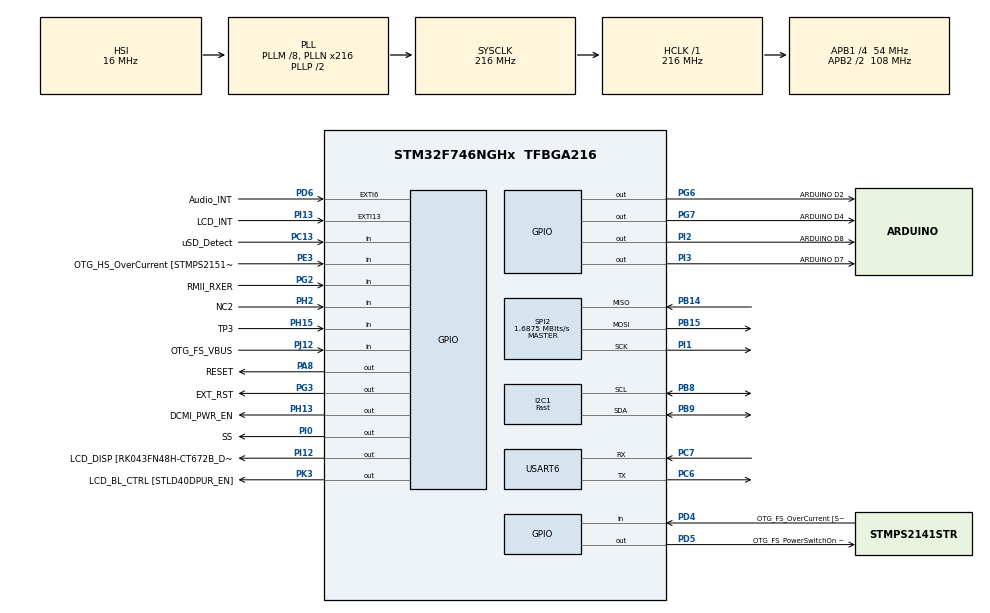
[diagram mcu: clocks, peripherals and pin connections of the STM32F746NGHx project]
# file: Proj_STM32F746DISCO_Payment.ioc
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I2C1.I2C_Speed_Mode=I2C_Fast
I2C1.Timing=0x6000030D
Mcu.Family=STM32F7
Mcu.Name=STM32F746NGHx
Mcu.Package=TFBGA216
NVIC.PriorityGroup=NVIC_PRIORITYGROUP_4
NVIC.USART6_IRQn=true\:0\:0\:false\:false\:true\:true\:true\:true
PA0/WKUP.GPIO_Label=ARDUINO A0
PA0/WKUP.GPIO_Mode=GPIO_MODE_ANALOG
PA0/WKUP.GPIO_PuPd=GPIO_NOPULL
PA0/WKUP.Signal=ADCx_IN0
PA1.GPIO_Label=RMII_REF_CLK [LAN8742A-CZ-TR_REFCLK0]
PA1.Signal=ETH_REF_CLK
PA10.GPIO_Label=OTG_FS_ID
PA10.Signal=USB_OTG_FS_ID
PA11.GPIO_Label=OTG_FS_N
PA11.Signal=USB_OTG_FS_DM
PA12.GPIO_Label=OTG_FS_P
PA12.Signal=USB_OTG_FS_DP
PA13.GPIO_Label=SWDIO
PA13.Mode=Serial_Wire
PA13.Signal=SYS_JTMS-SWDIO
PA14.GPIO_Label=SWCLK
PA14.Mode=Serial_Wire
PA14.Signal=SYS_JTCK-SWCLK
PA15.GPIO_Label=ARDUINO PWM/D9
PA15.GPIO_ModeDefaultPP=GPIO_MODE_AF_PP
PA15.GPIO_PuPd=GPIO_NOPULL
PA15.GPIO_Speed=GPIO_SPEED_FREQ_LOW
PA15.Signal=S_TIM2_CH1_ETR
PA2.GPIO_Label=RMII_MDIO [LAN8742A-CZ-TR_MDIO]
PA2.Signal=ETH_MDIO
PA3.GPIO_Label=ULPI_D0 [USB3320C-EZK_D0]
PA3.Signal=USB_OTG_HS_ULPI_D0
PA4.GPIO_Label=DCMI_HSYNC
PA4.Signal=DCMI_HSYNC
PA5.GPIO_Label=ULPI_CLK [USB3320C-EZK_CLKOUT]
PA5.Signal=USB_OTG_HS_ULPI_CK
PA6.Signal=DCMI_PIXCLK
PA7.GPIO_Label=RMII_CRS_DV [LAN8742A-CZ-TR_CRS_DV]
PA7.Signal=ETH_CRS_DV
PA8.GPIO_Label=RESET
PA8.Signal=GPIO_Output
PA9.GPIO_Label=VCP_TX [STM32F103CBT6_PA3]
PA9.GPIO_Mode=GPIO_MODE_AF_PP
PA9.GPIO_PuPd=GPIO_NOPULL
PA9.GPIO_Speed=GPIO_SPEED_FREQ_LOW
PA9.Signal=USART1_TX
PB0.GPIO_Label=ULPI_D1 [USB3320C-EZK_D1]
PB0.Signal=USB_OTG_HS_ULPI_D1
PB1.GPIO_Label=ULPI_D2 [USB3320C-EZK_D2]
PB1.Signal=USB_OTG_HS_ULPI_D2
PB10.GPIO_Label=ULPI_D3 [USB3320C-EZK_D3]
PB10.Signal=USB_OTG_HS_ULPI_D3
PB11.GPIO_Label=ULPI_D4 [USB3320C-EZK_D4]
PB11.Signal=USB_OTG_HS_ULPI_D4
PB12.GPIO_Label=ULPI_D5 [USB3320C-EZK_D5]
PB12.Signal=USB_OTG_HS_ULPI_D5
PB13.GPIO_Label=ULPI_D6 [USB3320C-EZK_D6]
PB13.Signal=USB_OTG_HS_ULPI_D6
PB14.Mode=Full_Duplex_Master
PB14.Signal=SPI2_MISO
PB15.Mode=Full_Duplex_Master
PB15.Signal=SPI2_MOSI
PB2.Signal=QUADSPI_CLK
PB3.GPIO_Label=SWO
PB3.Signal=SYS_JTDO-SWO
PB4.GPIO_Label=ARDUINO PWM/D3
PB4.GPIO_ModeDefaultPP=GPIO_MODE_AF_PP
PB4.GPIO_PuPd=GPIO_NOPULL
PB4.GPIO_Speed=GPIO_SPEED_FREQ_LOW
PB4.Signal=S_TIM3_CH1
PB5.GPIO_Label=ULPI_D7 [USB3320C-EZK_D7]
PB5.Signal=USB_OTG_HS_ULPI_D7
PB6.GPIO_Label=QSPI_NCS [N25Q128A13EF840E_S]
PB6.Signal=QUADSPI_BK1_NCS
PB7.GPIO_Label=VCP_RX [STM32F103CBT6_PA2]
PB7.GPIO_Mode=GPIO_MODE_AF_PP
PB7.GPIO_PuPd=GPIO_NOPULL
PB7.GPIO_Speed=GPIO_SPEED_FREQ_LOW
PB7.Signal=USART1_RX
PB8.Mode=I2C
PB8.Signal=I2C1_SCL
PB9.Mode=I2C
PB9.Signal=I2C1_SDA
PC0.GPIO_Label=ULPI_STP [USB3320C-EZK_STP]
PC0.Signal=USB_OTG_HS_ULPI_STP
PC1.GPIO_Label=RMII_MDC [LAN8742A-CZ-TR_MDC]
PC1.Signal=ETH_MDC
PC10.GPIO_Label=SDMMC_D2
PC10.Signal=SDMMC1_D2
PC11.GPIO_Label=SDMMC_D3
PC11.Signal=SDMMC1_D3
PC12.GPIO_Label=SDMMC_CK
PC12.Signal=SDMMC1_CK
PC13.GPIO_Label=uSD_Detect
PC13.Signal=GPIO_Input
PC14/OSC32_IN.GPIO_Label=RCC_OSC32_IN
PC14/OSC32_IN.Signal=RCC_OSC32_IN
PC15/OSC32_OUT.GPIO_Label=RCC_OSC32_OUT
PC15/OSC32_OUT.Signal=RCC_OSC32_OUT
PC2.GPIO_Label=ULPI_DIR [USB3320C-EZK_DIR]
PC2.Signal=USB_OTG_HS_ULPI_DIR
PC3.GPIO_Label=FMC_SDCKE0 [MT48LC4M32B2B5-6A_CKE]
PC3.Signal=FMC_SDCKE0
PC4.GPIO_Label=RMII_RXD0 [LAN8742A-CZ-TR_RXD0]
PC4.Signal=ETH_RXD0
PC5.GPIO_Label=RMII_RXD1 [LAN8742A-CZ-TR_RXD1]
PC5.Signal=ETH_RXD1
PC6.Mode=Asynchronous
PC6.Signal=USART6_TX
PC7.Mode=Asynchronous
PC7.Signal=USART6_RX
PC8.Signal=SDMMC1_D0
PC9.Signal=SDMMC1_D1
PD0.GPIO_Label=FMC_D2 [MT48LC4M32B2B5-6A_DQ2]
PD0.Signal=FMC_D2_DA2
PD1.GPIO_Label=FMC_D3 [MT48LC4M32B2B5-6A_DQ3]
PD1.Signal=FMC_D3_DA3
PD10.GPIO_Label=FMC_D15 [MT48LC4M32B2B5-6A_DQ15]
PD10.Signal=FMC_D15_DA15
PD11.GPIO_Label=QSPI_D0 [N25Q128A13EF840E_DQ0]
PD11.Signal=QUADSPI_BK1_IO0
PD12.GPIO_Label=QSPI_D1 [N25Q128A13EF840E_DQ1]
PD12.Signal=QUADSPI_BK1_IO1
PD13.GPIO_Label=QSPI_D3 [N25Q128A13EF840E_DQ3]
PD13.Signal=QUADSPI_BK1_IO3
PD14.GPIO_Label=FMC_D0 [MT48LC4M32B2B5-6A_DQ0]
PD14.Signal=FMC_D0_DA0
PD15.GPIO_Label=FMC_D1 [MT48LC4M32B2B5-6A_DQ1]
PD15.Signal=FMC_D1_DA1
PD2.GPIO_Label=SDMMC_CMD
PD2.Signal=SDMMC1_CMD
PD3.GPIO_Label=DCMI_D5
PD3.Signal=DCMI_D5
PD4.GPIO_Label=OTG_FS_OverCurrent [STMPS2141STR_Fault]
PD4.Signal=GPIO_Input
PD5.GPIO_Label=OTG_FS_PowerSwitchOn [STMPS2141STR_EN]
PD5.PinState=GPIO_PIN_SET
PD5.Signal=GPIO_Output
PD6.GPIO_Label=Audio_INT
PD6.GPIO_ModeDefaultEXTI=GPIO_MODE_EVT_RISING
PD6.Signal=GPXTI6
PD7.GPIO_Label=SPDIF_RX0 [74LVC1G04SE_4]
PD7.Signal=SPDIFRX_IN0
PD8.GPIO_Label=FMC_D13 [MT48LC4M32B2B5-6A_DQ13]
PD8.Signal=FMC_D13_DA13
PD9.GPIO_Label=FMC_D14 [MT48LC4M32B2B5-6A_DQ14]
PD9.Signal=FMC_D14_DA14
PE0.GPIO_Label=FMC_NBL0 [MT48LC4M32B2B5-6A_DQM0]
PE0.Signal=FMC_NBL0
PE1.GPIO_Label=FMC_NBL1 [MT48LC4M32B2B5-6A_DQM1]
PE1.Signal=FMC_NBL1
PE10.GPIO_Label=FMC_D7 [MT48LC4M32B2B5-6A_DQ7]
PE10.Signal=FMC_D7_DA7
PE11.GPIO_Label=FMC_D8 [MT48LC4M32B2B5-6A_DQ8]
PE11.Signal=FMC_D8_DA8
PE12.GPIO_Label=FMC_D9 [MT48LC4M32B2B5-6A_DQ9]
PE12.Signal=FMC_D9_DA9
PE13.GPIO_Label=FMC_D10 [MT48LC4M32B2B5-6A_DQ10]
PE13.Signal=FMC_D10_DA10
PE14.GPIO_Label=FMC_D11 [MT48LC4M32B2B5-6A_DQ11]
PE14.Signal=FMC_D11_DA11
PE15.GPIO_Label=FMC_D12 [MT48LC4M32B2B5-6A_DQ12]
PE15.Signal=FMC_D12_DA12
PE2.GPIO_Label=QSPI_D2 [N25Q128A13EF840E_DQ2]
PE2.Signal=QUADSPI_BK1_IO2
PE3.GPIO_Label=OTG_HS_OverCurrent [STMPS2151STR_FAULT]
PE3.Signal=GPIO_Input
PE4.GPIO_Label=LCD_B0 [RK043FN48H-CT672B_B0]
PE4.Signal=LTDC_B0
PE5.GPIO_Label=DCMI_D6
PE5.Signal=DCMI_D6
PE6.GPIO_Label=DCMI_D7
PE6.Signal=DCMI_D7
PE7.GPIO_Label=FMC_D4 [MT48LC4M32B2B5-6A_DQ4]
PE7.Signal=FMC_D4_DA4
PE8.GPIO_Label=FMC_D5 [MT48LC4M32B2B5-6A_DQ5]
PE8.Signal=FMC_D5_DA5
PE9.GPIO_Label=FMC_D6 [MT48LC4M32B2B5-6A_DQ6]
PE9.Signal=FMC_D6_DA6
PF0.GPIO_Label=FMC_A0 [MT48LC4M32B2B5-6A_A0]
PF0.Signal=FMC_A0
PF1.GPIO_Label=FMC_A1 [MT48LC4M32B2B5-6A_A1]
PF1.Signal=FMC_A1
PF10.GPIO_Label=ARDUINO A1
PF10.GPIO_Mode=GPIO_MODE_ANALOG
PF10.GPIO_PuPd=GPIO_NOPULL
PF10.Signal=ADC3_IN8
PF11.GPIO_Label=FMC_SDNRAS [MT48LC4M32B2B5-6A_RAS]
PF11.Signal=FMC_SDNRAS
PF12.GPIO_Label=FMC_A6 [MT48LC4M32B2B5-6A_A6]
PF12.Signal=FMC_A6
PF13.GPIO_Label=FMC_A7 [MT48LC4M32B2B5-6A_A7]
PF13.Signal=FMC_A7
PF14.GPIO_Label=FMC_A8 [MT48LC4M32B2B5-6A_A8]
PF14.Signal=FMC_A8
PF15.GPIO_Label=FMC_A9 [MT48LC4M32B2B5-6A_A9]
PF15.Signal=FMC_A9
PF2.GPIO_Label=FMC_A2 [MT48LC4M32B2B5-6A_A2]
PF2.Signal=FMC_A2
PF3.GPIO_Label=FMC_A3 [MT48LC4M32B2B5-6A_A3]
PF3.Signal=FMC_A3
PF4.GPIO_Label=FMC_A4 [MT48LC4M32B2B5-6A_A4]
PF4.Signal=FMC_A4
PF5.GPIO_Label=FMC_A5 [MT48LC4M32B2B5-6A_A5]
PF5.Signal=FMC_A5
PF6.GPIO_Label=ARDUINO A5
PF6.GPIO_Mode=GPIO_MODE_ANALOG
PF6.GPIO_PuPd=GPIO_NOPULL
PF6.Signal=ADC3_IN4
PF7.GPIO_Label=ARDUINO A4
PF7.GPIO_Mode=GPIO_MODE_ANALOG
PF7.GPIO_PuPd=GPIO_NOPULL
PF7.Signal=ADC3_IN5
PF8.GPIO_Label=ARDUINO A3
PF8.GPIO_Mode=GPIO_MODE_ANALOG
PF8.GPIO_PuPd=GPIO_NOPULL
PF8.Signal=ADC3_IN6
PF9.GPIO_Label=ARDUINO A2
PF9.GPIO_Mode=GPIO_MODE_ANALOG
PF9.GPIO_PuPd=GPIO_NOPULL
PF9.Signal=ADC3_IN7
PG0.GPIO_Label=FMC_A10 [MT48LC4M32B2B5-6A_A10]
PG0.Signal=FMC_A10
PG1.GPIO_Label=FMC_A11 [MT48LC4M32B2B5-6A_A11]
PG1.Signal=FMC_A11
PG10.GPIO_Label=SAI2_SDB [WM8994ECS/R_ADCDAT1]
PG10.Signal=SAI2_SD_B
PG11.GPIO_Label=RMII_TX_EN [LAN8742A-CZ-TR_TXEN]
PG11.Signal=ETH_TX_EN
PG12.GPIO_Label=LCD_B4 [RK043FN48H-CT672B_B4]
PG12.Signal=LTDC_B4
PG13.GPIO_Label=RMII_TXD0 [LAN8742A-CZ-TR_TXD0]
PG13.Signal=ETH_TXD0
PG14.GPIO_Label=RMII_TXD1 [LAN8742A-CZ-TR_TXD1]
PG14.Signal=ETH_TXD1
PG15.GPIO_Label=FMC_SDNCAS [MT48LC4M32B2B5-6A_CAS]
PG15.Signal=FMC_SDNCAS
PG2.GPIO_Label=RMII_RXER
PG2.Signal=GPIO_Input
PG3.GPIO_Label=EXT_RST
PG3.Signal=GPIO_Output
PG4.GPIO_Label=FMC_BA0 [MT48LC4M32B2B5-6A_BA0]
PG4.Signal=FMC_A14_BA0
PG5.GPIO_Label=FMC_BA1 [MT48LC4M32B2B5-6A_BA1]
PG5.Signal=FMC_A15_BA1
PG6.GPIO_Label=ARDUINO D2
PG6.Signal=GPIO_Output
PG7.GPIO_Label=ARDUINO D4
PG7.Signal=GPIO_Output
PG8.GPIO_Label=FMC_SDCLK [MT48LC4M32B2B5-6A_CLK]
PG8.Signal=FMC_SDCLK
PG9.GPIO_Label=DCMI_VSYNC
PG9.Signal=DCMI_VSYNC
PH0/OSC_IN.GPIO_Label=OSC_25M [NZ2520SB-25.00M_OUT]
PH0/OSC_IN.Signal=RCC_OSC_IN
PH1/OSC_OUT.Signal=RCC_OSC_OUT
PH10.GPIO_Label=DCMI_D1
PH10.Signal=DCMI_D1
PH11.GPIO_Label=DCMI_D2
PH11.Signal=DCMI_D2
PH12.GPIO_Label=DCMI_D3
PH12.Signal=DCMI_D3
PH13.GPIO_Label=DCMI_PWR_EN
PH13.Signal=GPIO_Output
PH14.GPIO_Label=DCMI_D4
PH14.Signal=DCMI_D4
PH15.GPIO_Label=TP3
PH15.Signal=GPIO_Input
PH2.GPIO_Label=NC2
PH2.Signal=GPIO_Input
PH3.GPIO_Label=FMC_SDNE0 [MT48LC4M32B2B5-6A_CS]
PH3.Signal=FMC_SDNE0
PH4.GPIO_Label=ULPI_NXT [USB3320C-EZK_NXT]
PH4.Signal=USB_OTG_HS_ULPI_NXT
PH5.GPIO_Label=FMC_SDNME [MT48LC4M32B2B5-6A_WE]
PH5.Signal=FMC_SDNWE
PH6.GPIO_Label=ARDUINO PWM/D6
PH6.Signal=S_TIM12_CH1
PH7.GPIO_Label=LCD_SCL [RK043FN48H-CT672B_SCL]
PH7.GPIO_Pu=GPIO_PULLUP
PH7.Signal=I2C3_SCL
PH8.GPIO_Label=LCD_SDA [RK043FN48H-CT672B_SDA]
PH8.GPIO_Pu=GPIO_PULLUP
PH8.Signal=I2C3_SDA
PH9.GPIO_Label=DCMI_D0
PH9.Signal=DCMI_D0
PI0.GPIO_Label=SS
PI0.Signal=GPIO_Output
PI1.Mode=Full_Duplex_Master
PI1.Signal=SPI2_SCK
PI10.GPIO_Label=LCD_HSYNC [RK043FN48H-CT672B_HSYNC]
PI10.Signal=LTDC_HSYNC
PI12.GPIO_Label=LCD_DISP [RK043FN48H-CT672B_DISP] 
PI12.PinState=GPIO_PIN_SET
PI12.Signal=GPIO_Output
PI13.GPIO_Label=LCD_INT
PI13.GPIO_ModeDefaultEXTI=GPIO_MODE_EVT_RISING
PI13.Signal=GPXTI13
PI14.GPIO_Label=LCD_CLK [RK043FN48H-CT672B_CLK]
PI14.Signal=LTDC_CLK
PI15.GPIO_Label=LCD_R0 [RK043FN48H-CT672B_R0]
PI15.Signal=LTDC_R0
PI2.GPIO_Label=ARDUINO D8
PI2.Signal=GPIO_Output
PI3.GPIO_Label=ARDUINO D7
PI3.Signal=GPIO_Output
PI4.GPIO_Label=SAI2_MCLKA [WM8994ECS/R_MCLK1]
PI4.Signal=SAI2_MCLK_A
PI5.GPIO_Label=SAI2_SCKA [WM8994ECS/R_BCLK1]
PI5.Signal=SAI2_SCK_A
PI6.GPIO_Label=SAI2_SDA [WM8994ECS/R_DACDAT1]
PI6.Signal=SAI2_SD_A
PI7.GPIO_Label=SAI2_FSA [WM8994ECS/R_LRCLK1]
PI7.Signal=SAI2_FS_A
PI8.GPIO_Label=NC1 [TP2]
PI8.Signal=RTC_TS
PI9.GPIO_Label=LCD_VSYNC [RK043FN48H-CT672B_VSYNC]
PI9.Signal=LTDC_VSYNC
PJ0.GPIO_Label=LCD_R1 [RK043FN48H-CT672B_R1]
PJ0.Signal=LTDC_R1
PJ1.GPIO_Label=LCD_R2 [RK043FN48H-CT672B_R2]
PJ1.Signal=LTDC_R2
PJ10.GPIO_Label=LCD_G3 [RK043FN48H-CT672B_G3]
PJ10.Signal=LTDC_G3
PJ11.GPIO_Label=LCD_G4 [RK043FN48H-CT672B_G4]
PJ11.Signal=LTDC_G4
PJ12.GPIO_Label=OTG_FS_VBUS
PJ12.Signal=GPIO_Input
PJ13.GPIO_Label=LCD_B1 [RK043FN48H-CT672B_B1]
PJ13.Signal=LTDC_B1
PJ14.GPIO_Label=LCD_B2 [RK043FN48H-CT672B_B2]
PJ14.Signal=LTDC_B2
PJ15.GPIO_Label=LCD_B3 [RK043FN48H-CT672B_B3]
PJ15.Signal=LTDC_B3
PJ2.GPIO_Label=LCD_R3 [RK043FN48H-CT672B_R3]
PJ2.Signal=LTDC_R3
PJ3.GPIO_Label=LCD_R4 [RK043FN48H-CT672B_R4]
PJ3.Signal=LTDC_R4
PJ4.GPIO_Label=LCD_R5 [RK043FN48H-CT672B_R5]
PJ4.Signal=LTDC_R5
PJ5.GPIO_Label=LCD_R6 [RK043FN48H-CT672B_R6]
PJ5.Signal=LTDC_R6
PJ6.GPIO_Label=LCD_R7 [RK043FN48H-CT672B_R7]
PJ6.Signal=LTDC_R7
PJ7.GPIO_Label=LCD_G0 [RK043FN48H-CT672B_G0]
PJ7.Signal=LTDC_G0
PJ8.GPIO_Label=LCD_G1 [RK043FN48H-CT672B_G1]
PJ8.Signal=LTDC_G1
PJ9.GPIO_Label=LCD_G2 [RK043FN48H-CT672B_G2]
PJ9.Signal=LTDC_G2
PK0.GPIO_Label=LCD_G5 [RK043FN48H-CT672B_G5]
PK0.Signal=LTDC_G5
PK1.GPIO_Label=LCD_G6 [RK043FN48H-CT672B_G6]
PK1.Signal=LTDC_G6
PK2.GPIO_Label=LCD_G7 [RK043FN48H-CT672B_G7]
PK2.Signal=LTDC_G7
PK3.GPIO_Label=LCD_BL_CTRL [STLD40DPUR_EN]
PK3.GPIO_Speed=GPIO_SPEED_FREQ_LOW
PK3.PinState=GPIO_PIN_SET
PK3.Signal=GPIO_Output
PK4.GPIO_Label=LCD_B5 [RK043FN48H-CT672B_B5]
PK4.Signal=LTDC_B5
PK5.GPIO_Label=LCD_B6 [RK043FN48H-CT672B_B6]
PK5.Signal=LTDC_B6
PK6.GPIO_Label=LCD_B7 [RK043FN48H-CT672B_B7]
PK6.Signal=LTDC_B7
PK7.GPIO_Label=LCD_DE [RK043FN48H-CT672B_DE]
PK7.Signal=LTDC_DE
ProjectManager.HeapSize=0x200
ProjectManager.StackSize=0x400
ProjectManager.TargetToolchain=STM32CubeIDE
RCC.AHBFreq_Value=216000000
RCC.APB1CLKDivider=RCC_HCLK_DIV4
RCC.APB1Freq_Value=54000000
RCC.APB1TimFreq_Value=108000000
RCC.APB2CLKDivider=RCC_HCLK_DIV2
RCC.APB2Freq_Value=108000000
RCC.APB2TimFreq_Value=216000000
RCC.CortexFreq_Value=216000000
RCC.HCLKFreq_Value=216000000
RCC.HSE_VALUE=25000000
RCC.HSI_VALUE=16000000
RCC.LSE_VALUE=32768
RCC.PLL48CLockSelection=RCC_CLK48SOURCE_PLLSAIP
RCC.PLLI2SN=100
RCC.PLLM=8
RCC.PLLN=216
RCC.PLLQ=9
RCC.PLLSAIN=384
RCC.PLLSAIP=RCC_PLLSAIP_DIV8
RCC.PLLSAIR=5
RCC.PLLSAIRDiv=RCC_PLLSAIDIVR_8
RCC.SDMMCClockSelection=RCC_SDMMC1CLKSOURCE_CLK48
RCC.SYSCLKFreq_VALUE=216000000
RCC.SYSCLKSource=RCC_SYSCLKSOURCE_PLLCLK
RCC.USBFreq_Value=96000000
RCC.VCOOutputFreq_Value=432000000
SH.ADCx_IN0.0=ADC3_IN0
SH.FMC_A0.0=FMC_A0
SH.FMC_A1.0=FMC_A1
SH.FMC_A10.0=FMC_A10
SH.FMC_A11.0=FMC_A11
SH.FMC_A14_BA0.0=FMC_BA0
SH.FMC_A15_BA1.0=FMC_BA1
SH.FMC_A2.0=FMC_A2
SH.FMC_A3.0=FMC_A3
SH.FMC_A4.0=FMC_A4
SH.FMC_A5.0=FMC_A5
SH.FMC_A6.0=FMC_A6
SH.FMC_A7.0=FMC_A7
SH.FMC_A8.0=FMC_A8
SH.FMC_A9.0=FMC_A9
SH.FMC_D0_DA0.0=FMC_D0
SH.FMC_D10_DA10.0=FMC_D10
SH.FMC_D11_DA11.0=FMC_D11
SH.FMC_D12_DA12.0=FMC_D12
SH.FMC_D13_DA13.0=FMC_D13
SH.FMC_D14_DA14.0=FMC_D14
SH.FMC_D15_DA15.0=FMC_D15
SH.FMC_D1_DA1.0=FMC_D1
SH.FMC_D2_DA2.0=FMC_D2
SH.FMC_D3_DA3.0=FMC_D3
SH.FMC_D4_DA4.0=FMC_D4
SH.FMC_D5_DA5.0=FMC_D5
SH.FMC_D6_DA6.0=FMC_D6
SH.FMC_D7_DA7.0=FMC_D7
SH.FMC_D8_DA8.0=FMC_D8
SH.FMC_D9_DA9.0=FMC_D9
SH.FMC_NBL0.0=FMC_NBL0
SH.FMC_NBL1.0=FMC_NBL1
SH.FMC_SDCLK.0=FMC_SDCLK
SH.FMC_SDNCAS.0=FMC_SDNCAS
SH.FMC_SDNRAS.0=FMC_SDNRAS
SH.FMC_SDNWE.0=FMC_SDNWE
SH.S_TIM12_CH1.0=TIM12_CH1
SH.S_TIM2_CH1_ETR.0=TIM2_CH1
SH.S_TIM3_CH1.0=TIM3_CH1
SPI2.BaudRatePrescaler=SPI_BAUDRATEPRESCALER_32
SPI2.CalculateBaudRate=1.6875 MBits/s
SPI2.DataSize=SPI_DATASIZE_8BIT
SPI2.Direction=SPI_DIRECTION_2LINES
SPI2.FirstBit=SPI_FIRSTBIT_LSB
SPI2.Mode=SPI_MODE_MASTER
SPI2.VirtualType=VM_MASTER
USART6.VirtualMode-Asynchronous=VM_ASYNC
board=STM32F746G-DISCO

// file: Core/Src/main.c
/* USER CODE BEGIN Header */
/**
  ******************************************************************************
  * @file           : main.c
  * @brief          : Main program body
  ******************************************************************************
  * @attention
  *
  * Copyright (c) 2022 STMicroelectronics.
  * All rights reserved.
  *
  * This software is licensed under terms that can be found in the LICENSE file
  * in the root directory of this software component.
  * If no LICENSE file comes with this software, it is provided AS-IS.
  *
  ******************************************************************************
  */
/* USER CODE END Header */
#include "main.h"

/* USER CODE BEGIN Includes */
#include "i2c-lcd.h"
#include "ssd1306.h"
#include "fonts.h"
#include <stdio.h>

/* USER CODE END Includes */

/* USER CODE BEGIN PD */
#define DS3231_ADDRESS 0xD0 //=0b1101000
/* USER CODE END PD */

I2C_HandleTypeDef hi2c1;

SPI_HandleTypeDef hspi2;

UART_HandleTypeDef huart6;

/* USER CODE BEGIN PV */
char buffer[20];
/* USER CODE END PV */

void SystemClock_Config(void);
static void MX_GPIO_Init(void);
static void MX_SPI2_Init(void);
static void MX_USART6_UART_Init(void);
static void MX_I2C1_Init(void);

/* USER CODE BEGIN 0 */
//convert normal decimal numbers to binary code decimal
uint8_t decToBcd(int val){
	return (uint8_t) ((val/10*16) + (val%10));
}
//convert binary codec decimal to normal decimal
int bcdToDec(uint8_t val){
	return (int) ((val/16*10) + (val%16));
}

typedef struct{
	uint8_t detik;
	uint8_t menit;
	uint8_t jam;
	uint8_t dow; //day of the week (hari)
	uint8_t dom; //day of the month (minggu)
	uint8_t bulan;
	uint8_t tahun;
}WAKTU;

WAKTU time;

//fungsi set
void setTime (uint8_t det, uint8_t mnt, uint8_t jm, uint8_t dow, uint8_t dom, uint8_t bulan, uint8_t thn ){
	uint8_t set_time[7];
	set_time[0] = decToBcd(det);
	set_time[1] = decToBcd(mnt);
	set_time[2] = decToBcd(jm);
	set_time[3] = decToBcd(dow);
	set_time[4] = decToBcd(dom);
	set_time[5] = decToBcd(bulan);
	set_time[6] = decToBcd(thn);

	HAL_I2C_Mem_Write(&hi2c1, DS3231_ADDRESS, 0x00,1, set_time, 7, 1000);
}

void getTime(void){
	uint8_t get_time[7];
	HAL_I2C_Mem_Read(&hi2c1, DS3231_ADDRESS, 0x00, 1, get_time, 7, 1000);
	time.detik	=bcdToDec(get_time[0]);
	time.menit	=bcdToDec(get_time[1]);
	time.jam	=bcdToDec(get_time[2]);
	time.dow	=bcdToDec(get_time[3]);
	time.dom	=bcdToDec(get_time[4]);
	time.bulan	=bcdToDec(get_time[5]);
	time.tahun	=bcdToDec(get_time[6]);

}
/* USER CODE END 0 */

int main(void)
{

  /* MCU Configuration--------------------------------------------------------*/

  /* Reset of all peripherals, Initializes the Flash interface and the Systick. */
  HAL_Init();

  /* Configure the system clock */
  SystemClock_Config();

  /* Initialize all configured peripherals */
  MX_GPIO_Init();
  MX_SPI2_Init();
  MX_USART6_UART_Init();
  MX_I2C1_Init();
  /* USER CODE BEGIN 2 */
  lcd_init();
  lcd_init();

  setTime(00, 57, 15, 6, 1, 8, 22);

  /* USER CODE END 2 */

  /* Infinite loop */
  while (1)
  {
    /* USER CODE BEGIN 3 */
	  getTime();
	  sprintf(buffer, "%02d:%02d:%02d", time.jam,time.menit,time.detik);
	  lcd_send_cmd(0x80|0x00);//line1
	  lcd_send_string(buffer);
	  SSD1306_GotoXY (0,0);
	  SSD1306_Puts (buffer, &Font_11x18, 1);

	  sprintf(buffer, "%02d/%02d/20%02d", time.dow,time.bulan,time.tahun);
	  lcd_send_cmd(0x80|0x40);//line2
	  lcd_send_string(buffer);
	  SSD1306_GotoXY (10, 30);
	  SSD1306_Puts (buffer, &Font_11x18, 1);

	  SSD1306_UpdateScreen(); //display

	  HAL_Delay(400);

  }
  /* USER CODE END 3 */
}

void SystemClock_Config(void)
{
  RCC_OscInitTypeDef RCC_OscInitStruct = {0};
  RCC_ClkInitTypeDef RCC_ClkInitStruct = {0};

  /** Configure the main internal regulator output voltage
  */
  __HAL_RCC_PWR_CLK_ENABLE();
  __HAL_PWR_VOLTAGESCALING_CONFIG(PWR_REGULATOR_VOLTAGE_SCALE1);

  /** Initializes the RCC Oscillators according to the specified parameters
  * in the RCC_OscInitTypeDef structure.
  */
  RCC_OscInitStruct.OscillatorType = RCC_OSCILLATORTYPE_HSI;
  RCC_OscInitStruct.HSIState = RCC_HSI_ON;
  RCC_OscInitStruct.HSICalibrationValue = RCC_HSICALIBRATION_DEFAULT;
  RCC_OscInitStruct.PLL.PLLState = RCC_PLL_ON;
  RCC_OscInitStruct.PLL.PLLSource = RCC_PLLSOURCE_HSI;
  RCC_OscInitStruct.PLL.PLLM = 8;
  RCC_OscInitStruct.PLL.PLLN = 216;
  RCC_OscInitStruct.PLL.PLLP = RCC_PLLP_DIV2;
  RCC_OscInitStruct.PLL.PLLQ = 9;
  if (HAL_RCC_OscConfig(&RCC_OscInitStruct) != HAL_OK)
  {
    Error_Handler();
  }

  /** Activate the Over-Drive mode
  */
  if (HAL_PWREx_EnableOverDrive() != HAL_OK)
  {
    Error_Handler();
  }

  /** Initializes the CPU, AHB and APB buses clocks
  */
  RCC_ClkInitStruct.ClockType = RCC_CLOCKTYPE_HCLK|RCC_CLOCKTYPE_SYSCLK
                              |RCC_CLOCKTYPE_PCLK1|RCC_CLOCKTYPE_PCLK2;
  RCC_ClkInitStruct.SYSCLKSource = RCC_SYSCLKSOURCE_PLLCLK;
  RCC_ClkInitStruct.AHBCLKDivider = RCC_SYSCLK_DIV1;
  RCC_ClkInitStruct.APB1CLKDivider = RCC_HCLK_DIV4;
  RCC_ClkInitStruct.APB2CLKDivider = RCC_HCLK_DIV2;

  if (HAL_RCC_ClockConfig(&RCC_ClkInitStruct, FLASH_LATENCY_7) != HAL_OK)
  {
    Error_Handler();
  }
}

static void MX_I2C1_Init(void)
{

  hi2c1.Instance = I2C1;
  hi2c1.Init.Timing = 0x6000030D;
  hi2c1.Init.OwnAddress1 = 0;
  hi2c1.Init.AddressingMode = I2C_ADDRESSINGMODE_7BIT;
  hi2c1.Init.DualAddressMode = I2C_DUALADDRESS_DISABLE;
  hi2c1.Init.OwnAddress2 = 0;
  hi2c1.Init.OwnAddress2Masks = I2C_OA2_NOMASK;
  hi2c1.Init.GeneralCallMode = I2C_GENERALCALL_DISABLE;
  hi2c1.Init.NoStretchMode = I2C_NOSTRETCH_DISABLE;
  if (HAL_I2C_Init(&hi2c1) != HAL_OK)
  {
    Error_Handler();
  }

  /** Configure Analogue filter
  */
  if (HAL_I2CEx_ConfigAnalogFilter(&hi2c1, I2C_ANALOGFILTER_ENABLE) != HAL_OK)
  {
    Error_Handler();
  }

  /** Configure Digital filter
  */
  if (HAL_I2CEx_ConfigDigitalFilter(&hi2c1, 0) != HAL_OK)
  {
    Error_Handler();
  }

}

static void MX_SPI2_Init(void)
{

  /* SPI2 parameter configuration*/
  hspi2.Instance = SPI2;
  hspi2.Init.Mode = SPI_MODE_MASTER;
  hspi2.Init.Direction = SPI_DIRECTION_2LINES;
  hspi2.Init.DataSize = SPI_DATASIZE_8BIT;
  hspi2.Init.CLKPolarity = SPI_POLARITY_LOW;
  hspi2.Init.CLKPhase = SPI_PHASE_1EDGE;
  hspi2.Init.NSS = SPI_NSS_SOFT;
  hspi2.Init.BaudRatePrescaler = SPI_BAUDRATEPRESCALER_32;
  hspi2.Init.FirstBit = SPI_FIRSTBIT_LSB;
  hspi2.Init.TIMode = SPI_TIMODE_DISABLE;
  hspi2.Init.CRCCalculation = SPI_CRCCALCULATION_DISABLE;
  hspi2.Init.CRCPolynomial = 7;
  hspi2.Init.CRCLength = SPI_CRC_LENGTH_DATASIZE;
  hspi2.Init.NSSPMode = SPI_NSS_PULSE_ENABLE;
  if (HAL_SPI_Init(&hspi2) != HAL_OK)
  {
    Error_Handler();
  }

}

static void MX_USART6_UART_Init(void)
{

  huart6.Instance = USART6;
  huart6.Init.BaudRate = 115200;
  huart6.Init.WordLength = UART_WORDLENGTH_8B;
  huart6.Init.StopBits = UART_STOPBITS_1;
  huart6.Init.Parity = UART_PARITY_NONE;
  huart6.Init.Mode = UART_MODE_TX_RX;
  huart6.Init.HwFlowCtl = UART_HWCONTROL_NONE;
  huart6.Init.OverSampling = UART_OVERSAMPLING_16;
  huart6.Init.OneBitSampling = UART_ONE_BIT_SAMPLE_DISABLE;
  huart6.AdvancedInit.AdvFeatureInit = UART_ADVFEATURE_NO_INIT;
  if (HAL_UART_Init(&huart6) != HAL_OK)
  {
    Error_Handler();
  }

}

static void MX_GPIO_Init(void)
{
  GPIO_InitTypeDef GPIO_InitStruct = {0};

  /* GPIO Ports Clock Enable */
  __HAL_RCC_GPIOE_CLK_ENABLE();
  __HAL_RCC_GPIOG_CLK_ENABLE();
  __HAL_RCC_GPIOB_CLK_ENABLE();
  __HAL_RCC_GPIOD_CLK_ENABLE();
  __HAL_RCC_GPIOC_CLK_ENABLE();
  __HAL_RCC_GPIOA_CLK_ENABLE();
  __HAL_RCC_GPIOJ_CLK_ENABLE();
  __HAL_RCC_GPIOI_CLK_ENABLE();
  __HAL_RCC_GPIOK_CLK_ENABLE();
  __HAL_RCC_GPIOF_CLK_ENABLE();
  __HAL_RCC_GPIOH_CLK_ENABLE();

  /*Configure GPIO pin Output Level */
  HAL_GPIO_WritePin(OTG_FS_PowerSwitchOn_GPIO_Port, OTG_FS_PowerSwitchOn_Pin, GPIO_PIN_SET);

  /*Configure GPIO pin Output Level */
  HAL_GPIO_WritePin(GPIOI, ARDUINO_D7_Pin|ARDUINO_D8_Pin|SS_Pin, GPIO_PIN_RESET);

  /*Configure GPIO pin Output Level */
  HAL_GPIO_WritePin(LCD_BL_CTRL_GPIO_Port, LCD_BL_CTRL_Pin, GPIO_PIN_SET);

  /*Configure GPIO pin Output Level */
  HAL_GPIO_WritePin(LCD_DISP_GPIO_Port, LCD_DISP_Pin, GPIO_PIN_SET);

  /*Configure GPIO pin Output Level */
  HAL_GPIO_WritePin(DCMI_PWR_EN_GPIO_Port, DCMI_PWR_EN_Pin, GPIO_PIN_RESET);

  /*Configure GPIO pin Output Level */
  HAL_GPIO_WritePin(RESET_GPIO_Port, RESET_Pin, GPIO_PIN_RESET);

  /*Configure GPIO pin Output Level */
  HAL_GPIO_WritePin(GPIOG, ARDUINO_D4_Pin|ARDUINO_D2_Pin|EXT_RST_Pin, GPIO_PIN_RESET);

  /*Configure GPIO pin : LCD_B0_Pin */
  GPIO_InitStruct.Pin = LCD_B0_Pin;
  GPIO_InitStruct.Mode = GPIO_MODE_AF_PP;
  GPIO_InitStruct.Pull = GPIO_NOPULL;
  GPIO_InitStruct.Speed = GPIO_SPEED_FREQ_LOW;
  GPIO_InitStruct.Alternate = GPIO_AF14_LTDC;
  HAL_GPIO_Init(LCD_B0_GPIO_Port, &GPIO_InitStruct);

  /*Configure GPIO pin : OTG_HS_OverCurrent_Pin */
  GPIO_InitStruct.Pin = OTG_HS_OverCurrent_Pin;
  GPIO_InitStruct.Mode = GPIO_MODE_INPUT;
  GPIO_InitStruct.Pull = GPIO_NOPULL;
  HAL_GPIO_Init(OTG_HS_OverCurrent_GPIO_Port, &GPIO_InitStruct);

  /*Configure GPIO pin : QSPI_D2_Pin */
  GPIO_InitStruct.Pin = QSPI_D2_Pin;
  GPIO_InitStruct.Mode = GPIO_MODE_AF_PP;
  GPIO_InitStruct.Pull = GPIO_NOPULL;
  GPIO_InitStruct.Speed = GPIO_SPEED_FREQ_VERY_HIGH;
  GPIO_InitStruct.Alternate = GPIO_AF9_QUADSPI;
  HAL_GPIO_Init(QSPI_D2_GPIO_Port, &GPIO_InitStruct);

  /*Configure GPIO pins : RMII_TXD1_Pin RMII_TXD0_Pin RMII_TX_EN_Pin */
  GPIO_InitStruct.Pin = RMII_TXD1_Pin|RMII_TXD0_Pin|RMII_TX_EN_Pin;
  GPIO_InitStruct.Mode = GPIO_MODE_AF_PP;
  GPIO_InitStruct.Pull = GPIO_NOPULL;
  GPIO_InitStruct.Speed = GPIO_SPEED_FREQ_VERY_HIGH;
  GPIO_InitStruct.Alternate = GPIO_AF11_ETH;
  HAL_GPIO_Init(GPIOG, &GPIO_InitStruct);

  /*Configure GPIO pins : FMC_NBL1_Pin FMC_NBL0_Pin FMC_D5_Pin FMC_D6_Pin
                           FMC_D8_Pin FMC_D11_Pin FMC_D4_Pin FMC_D7_Pin
                           FMC_D9_Pin FMC_D12_Pin FMC_D10_Pin */
  GPIO_InitStruct.Pin = FMC_NBL1_Pin|FMC_NBL0_Pin|FMC_D5_Pin|FMC_D6_Pin
                          |FMC_D8_Pin|FMC_D11_Pin|FMC_D4_Pin|FMC_D7_Pin
                          |FMC_D9_Pin|FMC_D12_Pin|FMC_D10_Pin;
  GPIO_InitStruct.Mode = GPIO_MODE_AF_PP;
  GPIO_InitStruct.Pull = GPIO_NOPULL;
  GPIO_InitStruct.Speed = GPIO_SPEED_FREQ_VERY_HIGH;
  GPIO_InitStruct.Alternate = GPIO_AF12_FMC;
  HAL_GPIO_Init(GPIOE, &GPIO_InitStruct);

  /*Configure GPIO pins : ULPI_D7_Pin ULPI_D6_Pin ULPI_D5_Pin ULPI_D3_Pin
                           ULPI_D2_Pin ULPI_D1_Pin ULPI_D4_Pin */
  GPIO_InitStruct.Pin = ULPI_D7_Pin|ULPI_D6_Pin|ULPI_D5_Pin|ULPI_D3_Pin
                          |ULPI_D2_Pin|ULPI_D1_Pin|ULPI_D4_Pin;
  GPIO_InitStruct.Mode = GPIO_MODE_AF_PP;
  GPIO_InitStruct.Pull = GPIO_NOPULL;
  GPIO_InitStruct.Speed = GPIO_SPEED_FREQ_VERY_HIGH;
  GPIO_InitStruct.Alternate = GPIO_AF10_OTG_HS;
  HAL_GPIO_Init(GPIOB, &GPIO_InitStruct);

  /*Configure GPIO pin : ARDUINO_PWM_D3_Pin */
  GPIO_InitStruct.Pin = ARDUINO_PWM_D3_Pin;
  GPIO_InitStruct.Mode = GPIO_MODE_AF_PP;
  GPIO_InitStruct.Pull = GPIO_NOPULL;
  GPIO_InitStruct.Speed = GPIO_SPEED_FREQ_LOW;
  GPIO_InitStruct.Alternate = GPIO_AF2_TIM3;
  HAL_GPIO_Init(ARDUINO_PWM_D3_GPIO_Port, &GPIO_InitStruct);

  /*Configure GPIO pin : SPDIF_RX0_Pin */
  GPIO_InitStruct.Pin = SPDIF_RX0_Pin;
  GPIO_InitStruct.Mode = GPIO_MODE_AF_PP;
  GPIO_InitStruct.Pull = GPIO_NOPULL;
  GPIO_InitStruct.Speed = GPIO_SPEED_FREQ_LOW;
  GPIO_InitStruct.Alternate = GPIO_AF8_SPDIFRX;
  HAL_GPIO_Init(SPDIF_RX0_GPIO_Port, &GPIO_InitStruct);

  /*Configure GPIO pins : SDMMC_CK_Pin SDMMC_D3_Pin SDMMC_D2_Pin PC9
                           PC8 */
  GPIO_InitStruct.Pin = SDMMC_CK_Pin|SDMMC_D3_Pin|SDMMC_D2_Pin|GPIO_PIN_9
                          |GPIO_PIN_8;
  GPIO_InitStruct.Mode = GPIO_MODE_AF_PP;
  GPIO_InitStruct.Pull = GPIO_NOPULL;
  GPIO_InitStruct.Speed = GPIO_SPEED_FREQ_VERY_HIGH;
  GPIO_InitStruct.Alternate = GPIO_AF12_SDMMC1;
  HAL_GPIO_Init(GPIOC, &GPIO_InitStruct);

  /*Configure GPIO pin : ARDUINO_PWM_D9_Pin */
  GPIO_InitStruct.Pin = ARDUINO_PWM_D9_Pin;
  GPIO_InitStruct.Mode = GPIO_MODE_AF_PP;
  GPIO_InitStruct.Pull = GPIO_NOPULL;
  GPIO_InitStruct.Speed = GPIO_SPEED_FREQ_LOW;
  GPIO_InitStruct.Alternate = GPIO_AF1_TIM2;
  HAL_GPIO_Init(ARDUINO_PWM_D9_GPIO_Port, &GPIO_InitStruct);

  /*Configure GPIO pins : DCMI_D6_Pin DCMI_D7_Pin */
  GPIO_InitStruct.Pin = DCMI_D6_Pin|DCMI_D7_Pin;
  GPIO_InitStruct.Mode = GPIO_MODE_AF_PP;
  GPIO_InitStruct.Pull = GPIO_NOPULL;
  GPIO_InitStruct.Speed = GPIO_SPEED_FREQ_LOW;
  GPIO_InitStruct.Alternate = GPIO_AF13_DCMI;
  HAL_GPIO_Init(GPIOE, &GPIO_InitStruct);

  /*Configure GPIO pin : VCP_RX_Pin */
  GPIO_InitStruct.Pin = VCP_RX_Pin;
  GPIO_InitStruct.Mode = GPIO_MODE_AF_PP;
  GPIO_InitStruct.Pull = GPIO_NOPULL;
  GPIO_InitStruct.Speed = GPIO_SPEED_FREQ_LOW;
  GPIO_InitStruct.Alternate = GPIO_AF7_USART1;
  HAL_GPIO_Init(VCP_RX_GPIO_Port, &GPIO_InitStruct);

  /*Configure GPIO pin : QSPI_NCS_Pin */
  GPIO_InitStruct.Pin = QSPI_NCS_Pin;
  GPIO_InitStruct.Mode = GPIO_MODE_AF_PP;
  GPIO_InitStruct.Pull = GPIO_NOPULL;
  GPIO_InitStruct.Speed = GPIO_SPEED_FREQ_VERY_HIGH;
  GPIO_InitStruct.Alternate = GPIO_AF10_QUADSPI;
  HAL_GPIO_Init(QSPI_NCS_GPIO_Port, &GPIO_InitStruct);

  /*Configure GPIO pins : FMC_SDNCAS_Pin FMC_SDCLK_Pin FMC_A11_Pin FMC_A10_Pin
                           FMC_BA1_Pin FMC_BA0_Pin */
  GPIO_InitStruct.Pin = FMC_SDNCAS_Pin|FMC_SDCLK_Pin|FMC_A11_Pin|FMC_A10_Pin
                          |FMC_BA1_Pin|FMC_BA0_Pin;
  GPIO_InitStruct.Mode = GPIO_MODE_AF_PP;
  GPIO_InitStruct.Pull = GPIO_NOPULL;
  GPIO_InitStruct.Speed = GPIO_SPEED_FREQ_VERY_HIGH;
  GPIO_InitStruct.Alternate = GPIO_AF12_FMC;
  HAL_GPIO_Init(GPIOG, &GPIO_InitStruct);

  /*Configure GPIO pins : LCD_B1_Pin LCD_B2_Pin LCD_B3_Pin LCD_G4_Pin
                           LCD_G1_Pin LCD_G3_Pin LCD_G0_Pin LCD_G2_Pin
                           LCD_R7_Pin LCD_R5_Pin LCD_R6_Pin LCD_R4_Pin
                           LCD_R3_Pin LCD_R1_Pin LCD_R2_Pin */
  GPIO_InitStruct.Pin = LCD_B1_Pin|LCD_B2_Pin|LCD_B3_Pin|LCD_G4_Pin
                          |LCD_G1_Pin|LCD_G3_Pin|LCD_G0_Pin|LCD_G2_Pin
                          |LCD_R7_Pin|LCD_R5_Pin|LCD_R6_Pin|LCD_R4_Pin
                          |LCD_R3_Pin|LCD_R1_Pin|LCD_R2_Pin;
  GPIO_InitStruct.Mode = GPIO_MODE_AF_PP;
  GPIO_InitStruct.Pull = GPIO_NOPULL;
  GPIO_InitStruct.Speed = GPIO_SPEED_FREQ_LOW;
  GPIO_InitStruct.Alternate = GPIO_AF14_LTDC;
  HAL_GPIO_Init(GPIOJ, &GPIO_InitStruct);

  /*Configure GPIO pin : OTG_FS_VBUS_Pin */
  GPIO_InitStruct.Pin = OTG_FS_VBUS_Pin;
  GPIO_InitStruct.Mode = GPIO_MODE_INPUT;
  GPIO_InitStruct.Pull = GPIO_NOPULL;
  HAL_GPIO_Init(OTG_FS_VBUS_GPIO_Port, &GPIO_InitStruct);

  /*Configure GPIO pin : Audio_INT_Pin */
  GPIO_InitStruct.Pin = Audio_INT_Pin;
  GPIO_InitStruct.Mode = GPIO_MODE_EVT_RISING;
  GPIO_InitStruct.Pull = GPIO_NOPULL;
  HAL_GPIO_Init(Audio_INT_GPIO_Port, &GPIO_InitStruct);

  /*Configure GPIO pins : FMC_D2_Pin FMC_D3_Pin FMC_D1_Pin FMC_D15_Pin
                           FMC_D0_Pin FMC_D14_Pin FMC_D13_Pin */
  GPIO_InitStruct.Pin = FMC_D2_Pin|FMC_D3_Pin|FMC_D1_Pin|FMC_D15_Pin
                          |FMC_D0_Pin|FMC_D14_Pin|FMC_D13_Pin;
  GPIO_InitStruct.Mode = GPIO_MODE_AF_PP;
  GPIO_InitStruct.Pull = GPIO_NOPULL;
  GPIO_InitStruct.Speed = GPIO_SPEED_FREQ_VERY_HIGH;
  GPIO_InitStruct.Alternate = GPIO_AF12_FMC;
  HAL_GPIO_Init(GPIOD, &GPIO_InitStruct);

  /*Configure GPIO pins : OTG_FS_P_Pin OTG_FS_N_Pin OTG_FS_ID_Pin */
  GPIO_InitStruct.Pin = OTG_FS_P_Pin|OTG_FS_N_Pin|OTG_FS_ID_Pin;
  GPIO_InitStruct.Mode = GPIO_MODE_AF_PP;
  GPIO_InitStruct.Pull = GPIO_NOPULL;
  GPIO_InitStruct.Speed = GPIO_SPEED_FREQ_VERY_HIGH;
  GPIO_InitStruct.Alternate = GPIO_AF10_OTG_FS;
  HAL_GPIO_Init(GPIOA, &GPIO_InitStruct);

  /*Configure GPIO pins : SAI2_MCLKA_Pin SAI2_SCKA_Pin SAI2_FSA_Pin SAI2_SDA_Pin */
  GPIO_InitStruct.Pin = SAI2_MCLKA_Pin|SAI2_SCKA_Pin|SAI2_FSA_Pin|SAI2_SDA_Pin;
  GPIO_InitStruct.Mode = GPIO_MODE_AF_PP;
  GPIO_InitStruct.Pull = GPIO_NOPULL;
  GPIO_InitStruct.Speed = GPIO_SPEED_FREQ_LOW;
  GPIO_InitStruct.Alternate = GPIO_AF10_SAI2;
  HAL_GPIO_Init(GPIOI, &GPIO_InitStruct);

  /*Configure GPIO pins : LCD_DE_Pin LCD_B7_Pin LCD_B6_Pin LCD_B5_Pin
                           LCD_G6_Pin LCD_G7_Pin LCD_G5_Pin */
  GPIO_InitStruct.Pin = LCD_DE_Pin|LCD_B7_Pin|LCD_B6_Pin|LCD_B5_Pin
                          |LCD_G6_Pin|LCD_G7_Pin|LCD_G5_Pin;
  GPIO_InitStruct.Mode = GPIO_MODE_AF_PP;
  GPIO_InitStruct.Pull = GPIO_NOPULL;
  GPIO_InitStruct.Speed = GPIO_SPEED_FREQ_LOW;
  GPIO_InitStruct.Alternate = GPIO_AF14_LTDC;
  HAL_GPIO_Init(GPIOK, &GPIO_InitStruct);

  /*Configure GPIO pin : LCD_B4_Pin */
  GPIO_InitStruct.Pin = LCD_B4_Pin;
  GPIO_InitStruct.Mode = GPIO_MODE_AF_PP;
  GPIO_InitStruct.Pull = GPIO_NOPULL;
  GPIO_InitStruct.Speed = GPIO_SPEED_FREQ_LOW;
  GPIO_InitStruct.Alternate = GPIO_AF9_LTDC;
  HAL_GPIO_Init(LCD_B4_GPIO_Port, &GPIO_InitStruct);

  /*Configure GPIO pin : SAI2_SDB_Pin */
  GPIO_InitStruct.Pin = SAI2_SDB_Pin;
  GPIO_InitStruct.Mode = GPIO_MODE_AF_PP;
  GPIO_InitStruct.Pull = GPIO_NOPULL;
  GPIO_InitStruct.Speed = GPIO_SPEED_FREQ_LOW;
  GPIO_InitStruct.Alternate = GPIO_AF10_SAI2;
  HAL_GPIO_Init(SAI2_SDB_GPIO_Port, &GPIO_InitStruct);

  /*Configure GPIO pin : OTG_FS_PowerSwitchOn_Pin */
  GPIO_InitStruct.Pin = OTG_FS_PowerSwitchOn_Pin;
  GPIO_InitStruct.Mode = GPIO_MODE_OUTPUT_PP;
  GPIO_InitStruct.Pull = GPIO_NOPULL;
  GPIO_InitStruct.Speed = GPIO_SPEED_FREQ_LOW;
  HAL_GPIO_Init(OTG_FS_PowerSwitchOn_GPIO_Port, &GPIO_InitStruct);

  /*Configure GPIO pin : DCMI_D5_Pin */
  GPIO_InitStruct.Pin = DCMI_D5_Pin;
  GPIO_InitStruct.Mode = GPIO_MODE_AF_PP;
  GPIO_InitStruct.Pull = GPIO_NOPULL;
  GPIO_InitStruct.Speed = GPIO_SPEED_FREQ_LOW;
  GPIO_InitStruct.Alternate = GPIO_AF13_DCMI;
  HAL_GPIO_Init(DCMI_D5_GPIO_Port, &GPIO_InitStruct);

  /*Configure GPIO pins : ARDUINO_D7_Pin ARDUINO_D8_Pin LCD_DISP_Pin SS_Pin */
  GPIO_InitStruct.Pin = ARDUINO_D7_Pin|ARDUINO_D8_Pin|LCD_DISP_Pin|SS_Pin;
  GPIO_InitStruct.Mode = GPIO_MODE_OUTPUT_PP;
  GPIO_InitStruct.Pull = GPIO_NOPULL;
  GPIO_InitStruct.Speed = GPIO_SPEED_FREQ_LOW;
  HAL_GPIO_Init(GPIOI, &GPIO_InitStruct);

  /*Configure GPIO pin : uSD_Detect_Pin */
  GPIO_InitStruct.Pin = uSD_Detect_Pin;
  GPIO_InitStruct.Mode = GPIO_MODE_INPUT;
  GPIO_InitStruct.Pull = GPIO_NOPULL;
  HAL_GPIO_Init(uSD_Detect_GPIO_Port, &GPIO_InitStruct);

  /*Configure GPIO pins : FMC_A0_Pin FMC_A1_Pin FMC_A2_Pin FMC_A3_Pin
                           FMC_A4_Pin FMC_A5_Pin FMC_A6_Pin FMC_A9_Pin
                           FMC_A7_Pin FMC_A8_Pin FMC_SDNRAS_Pin */
  GPIO_InitStruct.Pin = FMC_A0_Pin|FMC_A1_Pin|FMC_A2_Pin|FMC_A3_Pin
                          |FMC_A4_Pin|FMC_A5_Pin|FMC_A6_Pin|FMC_A9_Pin
                          |FMC_A7_Pin|FMC_A8_Pin|FMC_SDNRAS_Pin;
  GPIO_InitStruct.Mode = GPIO_MODE_AF_PP;
  GPIO_InitStruct.Pull = GPIO_NOPULL;
  GPIO_InitStruct.Speed = GPIO_SPEED_FREQ_VERY_HIGH;
  GPIO_InitStruct.Alternate = GPIO_AF12_FMC;
  HAL_GPIO_Init(GPIOF, &GPIO_InitStruct);

  /*Configure GPIO pins : LCD_HSYNC_Pin LCD_VSYNC_Pin LCD_R0_Pin LCD_CLK_Pin */
  GPIO_InitStruct.Pin = LCD_HSYNC_Pin|LCD_VSYNC_Pin|LCD_R0_Pin|LCD_CLK_Pin;
  GPIO_InitStruct.Mode = GPIO_MODE_AF_PP;
  GPIO_InitStruct.Pull = GPIO_NOPULL;
  GPIO_InitStruct.Speed = GPIO_SPEED_FREQ_LOW;
  GPIO_InitStruct.Alternate = GPIO_AF14_LTDC;
  HAL_GPIO_Init(GPIOI, &GPIO_InitStruct);

  /*Configure GPIO pin : LCD_BL_CTRL_Pin */
  GPIO_InitStruct.Pin = LCD_BL_CTRL_Pin;
  GPIO_InitStruct.Mode = GPIO_MODE_OUTPUT_PP;
  GPIO_InitStruct.Pull = GPIO_NOPULL;
  GPIO_InitStruct.Speed = GPIO_SPEED_FREQ_LOW;
  HAL_GPIO_Init(LCD_BL_CTRL_GPIO_Port, &GPIO_InitStruct);

  /*Configure GPIO pin : DCMI_VSYNC_Pin */
  GPIO_InitStruct.Pin = DCMI_VSYNC_Pin;
  GPIO_InitStruct.Mode = GPIO_MODE_AF_PP;
  GPIO_InitStruct.Pull = GPIO_NOPULL;
  GPIO_InitStruct.Speed = GPIO_SPEED_FREQ_LOW;
  GPIO_InitStruct.Alternate = GPIO_AF13_DCMI;
  HAL_GPIO_Init(DCMI_VSYNC_GPIO_Port, &GPIO_InitStruct);

  /*Configure GPIO pin : OTG_FS_OverCurrent_Pin */
  GPIO_InitStruct.Pin = OTG_FS_OverCurrent_Pin;
  GPIO_InitStruct.Mode = GPIO_MODE_INPUT;
  GPIO_InitStruct.Pull = GPIO_NOPULL;
  HAL_GPIO_Init(OTG_FS_OverCurrent_GPIO_Port, &GPIO_InitStruct);

  /*Configure GPIO pin : SDMMC_CMD_Pin */
  GPIO_InitStruct.Pin = SDMMC_CMD_Pin;
  GPIO_InitStruct.Mode = GPIO_MODE_AF_PP;
  GPIO_InitStruct.Pull = GPIO_NOPULL;
  GPIO_InitStruct.Speed = GPIO_SPEED_FREQ_VERY_HIGH;
  GPIO_InitStruct.Alternate = GPIO_AF12_SDMMC1;
  HAL_GPIO_Init(SDMMC_CMD_GPIO_Port, &GPIO_InitStruct);

  /*Configure GPIO pins : TP3_Pin NC2_Pin */
  GPIO_InitStruct.Pin = TP3_Pin|NC2_Pin;
  GPIO_InitStruct.Mode = GPIO_MODE_INPUT;
  GPIO_InitStruct.Pull = GPIO_NOPULL;
  HAL_GPIO_Init(GPIOH, &GPIO_InitStruct);

  /*Configure GPIO pin : DCMI_PWR_EN_Pin */
  GPIO_InitStruct.Pin = DCMI_PWR_EN_Pin;
  GPIO_InitStruct.Mode = GPIO_MODE_OUTPUT_PP;
  GPIO_InitStruct.Pull = GPIO_NOPULL;
  GPIO_InitStruct.Speed = GPIO_SPEED_FREQ_LOW;
  HAL_GPIO_Init(DCMI_PWR_EN_GPIO_Port, &GPIO_InitStruct);

  /*Configure GPIO pins : DCMI_D4_Pin DCMI_D3_Pin DCMI_D0_Pin DCMI_D2_Pin
                           DCMI_D1_Pin */
  GPIO_InitStruct.Pin = DCMI_D4_Pin|DCMI_D3_Pin|DCMI_D0_Pin|DCMI_D2_Pin
                          |DCMI_D1_Pin;
  GPIO_InitStruct.Mode = GPIO_MODE_AF_PP;
  GPIO_InitStruct.Pull = GPIO_NOPULL;
  GPIO_InitStruct.Speed = GPIO_SPEED_FREQ_LOW;
  GPIO_InitStruct.Alternate = GPIO_AF13_DCMI;
  HAL_GPIO_Init(GPIOH, &GPIO_InitStruct);

  /*Configure GPIO pin : VCP_TX_Pin */
  GPIO_InitStruct.Pin = VCP_TX_Pin;
  GPIO_InitStruct.Mode = GPIO_MODE_AF_PP;
  GPIO_InitStruct.Pull = GPIO_NOPULL;
  GPIO_InitStruct.Speed = GPIO_SPEED_FREQ_LOW;
  GPIO_InitStruct.Alternate = GPIO_AF7_USART1;
  HAL_GPIO_Init(VCP_TX_GPIO_Port, &GPIO_InitStruct);

  /*Configure GPIO pin : RESET_Pin */
  GPIO_InitStruct.Pin = RESET_Pin;
  GPIO_InitStruct.Mode = GPIO_MODE_OUTPUT_PP;
  GPIO_InitStruct.Pull = GPIO_NOPULL;
  GPIO_InitStruct.Speed = GPIO_SPEED_FREQ_LOW;
  HAL_GPIO_Init(RESET_GPIO_Port, &GPIO_InitStruct);

  /*Configure GPIO pin : LCD_INT_Pin */
  GPIO_InitStruct.Pin = LCD_INT_Pin;
  GPIO_InitStruct.Mode = GPIO_MODE_EVT_RISING;
  GPIO_InitStruct.Pull = GPIO_NOPULL;
  HAL_GPIO_Init(LCD_INT_GPIO_Port, &GPIO_InitStruct);

  /*Configure GPIO pin : ULPI_NXT_Pin */
  GPIO_InitStruct.Pin = ULPI_NXT_Pin;
  GPIO_InitStruct.Mode = GPIO_MODE_AF_PP;
  GPIO_InitStruct.Pull = GPIO_NOPULL;
  GPIO_InitStruct.Speed = GPIO_SPEED_FREQ_VERY_HIGH;
  GPIO_InitStruct.Alternate = GPIO_AF10_OTG_HS;
  HAL_GPIO_Init(ULPI_NXT_GPIO_Port, &GPIO_InitStruct);

  /*Configure GPIO pins : FMC_SDNME_Pin FMC_SDNE0_Pin */
  GPIO_InitStruct.Pin = FMC_SDNME_Pin|FMC_SDNE0_Pin;
  GPIO_InitStruct.Mode = GPIO_MODE_AF_PP;
  GPIO_InitStruct.Pull = GPIO_NOPULL;
  GPIO_InitStruct.Speed = GPIO_SPEED_FREQ_VERY_HIGH;
  GPIO_InitStruct.Alternate = GPIO_AF12_FMC;
  HAL_GPIO_Init(GPIOH, &GPIO_InitStruct);

  /*Configure GPIO pins : ARDUINO_D4_Pin ARDUINO_D2_Pin EXT_RST_Pin */
  GPIO_InitStruct.Pin = ARDUINO_D4_Pin|ARDUINO_D2_Pin|EXT_RST_Pin;
  GPIO_InitStruct.Mode = GPIO_MODE_OUTPUT_PP;
  GPIO_InitStruct.Pull = GPIO_NOPULL;
  GPIO_InitStruct.Speed = GPIO_SPEED_FREQ_LOW;
  HAL_GPIO_Init(GPIOG, &GPIO_InitStruct);

  /*Configure GPIO pins : ARDUINO_A4_Pin ARDUINO_A5_Pin ARDUINO_A1_Pin ARDUINO_A2_Pin
                           ARDUINO_A3_Pin */
  GPIO_InitStruct.Pin = ARDUINO_A4_Pin|ARDUINO_A5_Pin|ARDUINO_A1_Pin|ARDUINO_A2_Pin
                          |ARDUINO_A3_Pin;
  GPIO_InitStruct.Mode = GPIO_MODE_ANALOG;
  GPIO_InitStruct.Pull = GPIO_NOPULL;
  HAL_GPIO_Init(GPIOF, &GPIO_InitStruct);

  /*Configure GPIO pin : FMC_SDCKE0_Pin */
  GPIO_InitStruct.Pin = FMC_SDCKE0_Pin;
  GPIO_InitStruct.Mode = GPIO_MODE_AF_PP;
  GPIO_InitStruct.Pull = GPIO_NOPULL;
  GPIO_InitStruct.Speed = GPIO_SPEED_FREQ_VERY_HIGH;
  GPIO_InitStruct.Alternate = GPIO_AF12_FMC;
  HAL_GPIO_Init(FMC_SDCKE0_GPIO_Port, &GPIO_InitStruct);

  /*Configure GPIO pins : ULPI_STP_Pin ULPI_DIR_Pin */
  GPIO_InitStruct.Pin = ULPI_STP_Pin|ULPI_DIR_Pin;
  GPIO_InitStruct.Mode = GPIO_MODE_AF_PP;
  GPIO_InitStruct.Pull = GPIO_NOPULL;
  GPIO_InitStruct.Speed = GPIO_SPEED_FREQ_VERY_HIGH;
  GPIO_InitStruct.Alternate = GPIO_AF10_OTG_HS;
  HAL_GPIO_Init(GPIOC, &GPIO_InitStruct);

  /*Configure GPIO pins : RMII_MDC_Pin RMII_RXD0_Pin RMII_RXD1_Pin */
  GPIO_InitStruct.Pin = RMII_MDC_Pin|RMII_RXD0_Pin|RMII_RXD1_Pin;
  GPIO_InitStruct.Mode = GPIO_MODE_AF_PP;
  GPIO_InitStruct.Pull = GPIO_NOPULL;
  GPIO_InitStruct.Speed = GPIO_SPEED_FREQ_VERY_HIGH;
  GPIO_InitStruct.Alternate = GPIO_AF11_ETH;
  HAL_GPIO_Init(GPIOC, &GPIO_InitStruct);

  /*Configure GPIO pin : PB2 */
  GPIO_InitStruct.Pin = GPIO_PIN_2;
  GPIO_InitStruct.Mode = GPIO_MODE_AF_PP;
  GPIO_InitStruct.Pull = GPIO_NOPULL;
  GPIO_InitStruct.Speed = GPIO_SPEED_FREQ_VERY_HIGH;
  GPIO_InitStruct.Alternate = GPIO_AF9_QUADSPI;
  HAL_GPIO_Init(GPIOB, &GPIO_InitStruct);

  /*Configure GPIO pins : QSPI_D1_Pin QSPI_D3_Pin QSPI_D0_Pin */
  GPIO_InitStruct.Pin = QSPI_D1_Pin|QSPI_D3_Pin|QSPI_D0_Pin;
  GPIO_InitStruct.Mode = GPIO_MODE_AF_PP;
  GPIO_InitStruct.Pull = GPIO_NOPULL;
  GPIO_InitStruct.Speed = GPIO_SPEED_FREQ_VERY_HIGH;
  GPIO_InitStruct.Alternate = GPIO_AF9_QUADSPI;
  HAL_GPIO_Init(GPIOD, &GPIO_InitStruct);

  /*Configure GPIO pin : RMII_RXER_Pin */
  GPIO_InitStruct.Pin = RMII_RXER_Pin;
  GPIO_InitStruct.Mode = GPIO_MODE_INPUT;
  GPIO_InitStruct.Pull = GPIO_NOPULL;
  HAL_GPIO_Init(RMII_RXER_GPIO_Port, &GPIO_InitStruct);

  /*Configure GPIO pins : RMII_REF_CLK_Pin RMII_MDIO_Pin RMII_CRS_DV_Pin */
  GPIO_InitStruct.Pin = RMII_REF_CLK_Pin|RMII_MDIO_Pin|RMII_CRS_DV_Pin;
  GPIO_InitStruct.Mode = GPIO_MODE_AF_PP;
  GPIO_InitStruct.Pull = GPIO_NOPULL;
  GPIO_InitStruct.Speed = GPIO_SPEED_FREQ_VERY_HIGH;
  GPIO_InitStruct.Alternate = GPIO_AF11_ETH;
  HAL_GPIO_Init(GPIOA, &GPIO_InitStruct);

  /*Configure GPIO pin : ARDUINO_A0_Pin */
  GPIO_InitStruct.Pin = ARDUINO_A0_Pin;
  GPIO_InitStruct.Mode = GPIO_MODE_ANALOG;
  GPIO_InitStruct.Pull = GPIO_NOPULL;
  HAL_GPIO_Init(ARDUINO_A0_GPIO_Port, &GPIO_InitStruct);

  /*Configure GPIO pins : DCMI_HSYNC_Pin PA6 */
  GPIO_InitStruct.Pin = DCMI_HSYNC_Pin|GPIO_PIN_6;
  GPIO_InitStruct.Mode = GPIO_MODE_AF_PP;
  GPIO_InitStruct.Pull = GPIO_NOPULL;
  GPIO_InitStruct.Speed = GPIO_SPEED_FREQ_LOW;
  GPIO_InitStruct.Alternate = GPIO_AF13_DCMI;
  HAL_GPIO_Init(GPIOA, &GPIO_InitStruct);

  /*Configure GPIO pins : LCD_SCL_Pin LCD_SDA_Pin */
  GPIO_InitStruct.Pin = LCD_SCL_Pin|LCD_SDA_Pin;
  GPIO_InitStruct.Mode = GPIO_MODE_AF_OD;
  GPIO_InitStruct.Pull = GPIO_PULLUP;
  GPIO_InitStruct.Speed = GPIO_SPEED_FREQ_VERY_HIGH;
  GPIO_InitStruct.Alternate = GPIO_AF4_I2C3;
  HAL_GPIO_Init(GPIOH, &GPIO_InitStruct);

  /*Configure GPIO pins : ULPI_CLK_Pin ULPI_D0_Pin */
  GPIO_InitStruct.Pin = ULPI_CLK_Pin|ULPI_D0_Pin;
  GPIO_InitStruct.Mode = GPIO_MODE_AF_PP;
  GPIO_InitStruct.Pull = GPIO_NOPULL;
  GPIO_InitStruct.Speed = GPIO_SPEED_FREQ_VERY_HIGH;
  GPIO_InitStruct.Alternate = GPIO_AF10_OTG_HS;
  HAL_GPIO_Init(GPIOA, &GPIO_InitStruct);

  /*Configure GPIO pin : ARDUINO_PWM_D6_Pin */
  GPIO_InitStruct.Pin = ARDUINO_PWM_D6_Pin;
  GPIO_InitStruct.Mode = GPIO_MODE_AF_PP;
  GPIO_InitStruct.Pull = GPIO_NOPULL;
  GPIO_InitStruct.Speed = GPIO_SPEED_FREQ_LOW;
  GPIO_InitStruct.Alternate = GPIO_AF9_TIM12;
  HAL_GPIO_Init(ARDUINO_PWM_D6_GPIO_Port, &GPIO_InitStruct);

}

void Error_Handler(void)
{
  __disable_irq();
  while (1)
  {
  }
}
